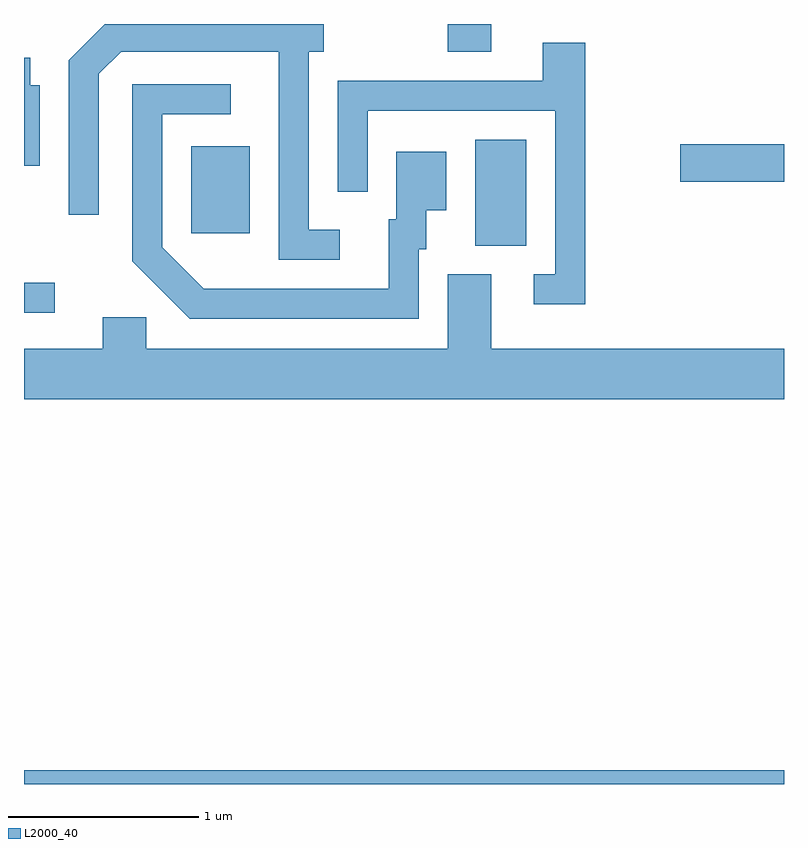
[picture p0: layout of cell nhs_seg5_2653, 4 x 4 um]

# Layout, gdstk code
import gdstk
lib = gdstk.Library(unit=1e-6, precision=1e-09)
def R(c, l, rs):  # rectangles x0, y0, x1, y1
    for r in rs: c.add(gdstk.rectangle(r[:2], r[2:], *l))
def P(c, l, *ps):  # polygons
    for p in ps: c.add(gdstk.Polygon(p, *l))
L2000_40 = (2000, 40)

nhs_seg5_2653 = lib.new_cell('nhs_seg5_2653')
R(nhs_seg5_2653, L2000_40, [(263.611,1488.072,267.611,1488.144), (263.611,1490.551,263.773,1490.709), (265.986,1490.906,266.254,1491.464), (264.491,1490.971,264.799,1491.429), (267.066,1491.241,267.611,1491.439), (265.841,1491.926,266.069,1492.072)])
P(nhs_seg5_2653, L2000_40, [(265.273,1490.989),(265.109,1490.989),(265.109,1491.926),(265.188,1491.926),(265.188,1492.072),(264.037,1492.072),(263.846,1491.882),(263.846,1491.068),(264.004,1491.068),(264.004,1491.809),(264.122,1491.926),(264.951,1491.926),(264.951,1490.831),(265.273,1490.831)],
  [(266.564,1491.974),(266.341,1491.974),(266.341,1491.774),(265.261,1491.774),(265.261,1491.188),(265.419,1491.188),(265.419,1491.616),(266.406,1491.616),(266.406,1490.754),(266.293,1490.754),(266.293,1490.596),(266.564,1490.596)],
  [(263.694,1491.749),(263.644,1491.749),(263.644,1491.894),(263.611,1491.894),(263.611,1491.326),(263.694,1491.326)],
  [(265.689,1490.886),(265.729,1490.886),(265.729,1491.091),(265.834,1491.091),(265.834,1491.399),(265.571,1491.399),(265.571,1491.044),(265.531,1491.044),(265.531,1490.679),(264.557,1490.679),(264.339,1490.897),(264.339,1491.596),(264.698,1491.596),(264.698,1491.754),(264.181,1491.754),(264.181,1490.824),(264.484,1490.521),(265.689,1490.521)],
  [(267.611,1490.364),(266.069,1490.364),(266.069,1490.754),(265.841,1490.754),(265.841,1490.364),(264.254,1490.364),(264.254,1490.529),(264.026,1490.529),(264.026,1490.364),(263.611,1490.364),(263.611,1490.096),(267.611,1490.096)])

lib.write_gds('nhs_seg5_2653.gds')
